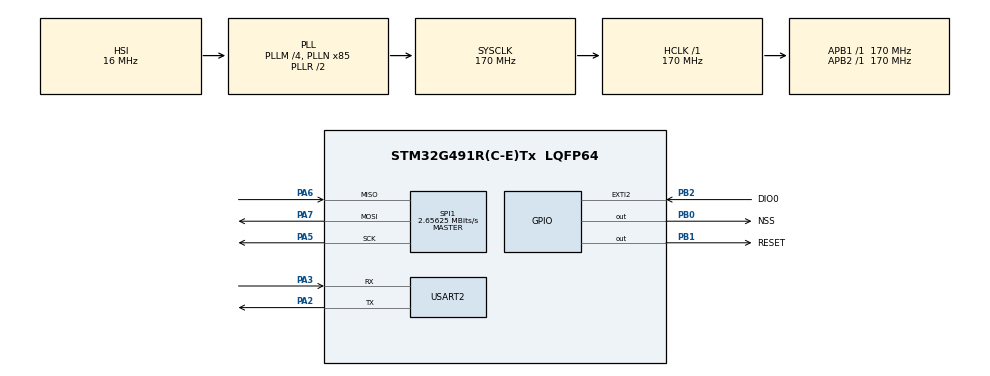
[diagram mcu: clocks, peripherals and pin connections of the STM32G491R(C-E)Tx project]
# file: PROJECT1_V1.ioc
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Mcu.Family=STM32G4
Mcu.Name=STM32G491R(C-E)Tx
Mcu.Package=LQFP64
NUCLEO-G491RE.LD2=false
NVIC.EXTI2_IRQn=true\:0\:0\:false\:false\:true\:true\:true\:true
NVIC.PriorityGroup=NVIC_PRIORITYGROUP_4
PA13.GPIO_Label=T_SWDIO
PA13.Mode=Serial_Wire
PA13.Signal=SYS_JTMS-SWDIO
PA14.GPIO_Label=T_SWCLK
PA14.Mode=Serial_Wire
PA14.Signal=SYS_JTCK-SWCLK
PA2.Mode=Asynchronous
PA2.Signal=USART2_TX
PA3.Mode=Asynchronous
PA3.Signal=USART2_RX
PA5.Mode=Full_Duplex_Master
PA5.Signal=SPI1_SCK
PA6.Mode=Full_Duplex_Master
PA6.Signal=SPI1_MISO
PA7.Mode=Full_Duplex_Master
PA7.Signal=SPI1_MOSI
PB0.GPIO_Label=NSS
PB0.PinState=GPIO_PIN_SET
PB0.Signal=GPIO_Output
PB1.GPIO_Label=RESET
PB1.PinState=GPIO_PIN_SET
PB1.Signal=GPIO_Output
PB2.GPIO_Label=DIO0
PB2.Signal=GPXTI2
PF0-OSC_IN.GPIO_Label=RCC_OSC_IN
PF0-OSC_IN.Mode=HSE-External-Oscillator
PF0-OSC_IN.Signal=RCC_OSC_IN
PF1-OSC_OUT.GPIO_Label=RCC_OSC_OUT
PF1-OSC_OUT.Mode=HSE-External-Oscillator
PF1-OSC_OUT.Signal=RCC_OSC_OUT
ProjectManager.HeapSize=0x200
ProjectManager.StackSize=0x400
ProjectManager.TargetToolchain=STM32CubeIDE
RCC.ADC12Freq_Value=170000000
RCC.ADC345Freq_Value=170000000
RCC.AHBFreq_Value=170000000
RCC.APB1Freq_Value=170000000
RCC.APB1TimFreq_Value=170000000
RCC.APB2Freq_Value=170000000
RCC.APB2TimFreq_Value=170000000
RCC.CortexFreq_Value=170000000
RCC.EXTERNAL_CLOCK_VALUE=12288000
RCC.HCLKFreq_Value=170000000
RCC.HSE_VALUE=24000000
RCC.HSI48_VALUE=48000000
RCC.HSI_VALUE=16000000
RCC.LSE_VALUE=32768
RCC.PLLM=RCC_PLLM_DIV4
RCC.PLLN=85
RCC.RTCClockSelection=RCC_RTCCLKSOURCE_LSE
RCC.SYSCLKFreq_VALUE=170000000
RCC.SYSCLKSource=RCC_SYSCLKSOURCE_PLLCLK
RCC.USBFreq_Value=48000000
RCC.VCOOutputFreq_Value=340000000
SPI1.BaudRatePrescaler=SPI_BAUDRATEPRESCALER_64
SPI1.CalculateBaudRate=2.65625 MBits/s
SPI1.DataSize=SPI_DATASIZE_8BIT
SPI1.Direction=SPI_DIRECTION_2LINES
SPI1.Mode=SPI_MODE_MASTER
SPI1.VirtualType=VM_MASTER
USART2.OverrunDisableParam=ADVFEATURE_OVERRUN_DISABLE
USART2.VirtualMode-Asynchronous=VM_ASYNC
VP_NUCLEO-G491RE_VS_BSP_COMMON.Mode=COMMON
VP_SYS_VS_DBSignals.Mode=DisableDeadBatterySignals
board=NUCLEO-G491RE

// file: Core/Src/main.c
/* USER CODE BEGIN Header */
/**
  ******************************************************************************
  * @file           : main.c
  * @brief          : Main program body
  ******************************************************************************
  * @attention
  *
  * Copyright (c) 2026 STMicroelectronics.
  * All rights reserved.
  *
  * This software is licensed under terms that can be found in the LICENSE file
  * in the root directory of this software component.
  * If no LICENSE file comes with this software, it is provided AS-IS.
  *
  ******************************************************************************
  */
/* USER CODE END Header */
#include "main.h"
#include "spi.h"
#include "usart.h"
#include "gpio.h"

/* USER CODE BEGIN Includes */
#include "LoRa.h"
#include "stdio.h"
#include "string.h"
#include <stdbool.h>
/* USER CODE END Includes */

void SystemClock_Config(void);

/* USER CODE BEGIN 0 */
int __io_putchar(int ch)
{
    HAL_UART_Transmit(&huart2, (uint8_t*)&ch, 1, HAL_MAX_DELAY);
    return 1;
}
/* USER CODE END 0 */

int main(void)
{

  /* MCU Configuration--------------------------------------------------------*/

  /* Reset of all peripherals, Initializes the Flash interface and the Systick. */
  HAL_Init();

  /* Configure the system clock */
  SystemClock_Config();

  /* Initialize all configured peripherals */
  MX_GPIO_Init();
  MX_USART2_UART_Init();
  MX_SPI1_Init();
  /* USER CODE BEGIN 2 */
	#define LINE_MAX_LENGTH 80

	bool uart_read_line(char **out)
	{
		static char buffer[LINE_MAX_LENGTH + 1];
		static uint32_t len = 0;
		uint8_t ch;

		if (HAL_UART_Receive(&huart2, &ch, 1, 0) != HAL_OK)
			return false;

		if (ch == '\r' || ch == '\n')
		{
			if (len == 0)
				return false;

			buffer[len] = '\0';
			*out = buffer;
			len = 0;
			return true;
		}

		if (len < LINE_MAX_LENGTH)
		{
			buffer[len++] = ch;
		}
		else
		{
			len = 0;
		}

		return false;
	}

	LoRa myLoRa;

	myLoRa.hSPIx = &hspi1;

	myLoRa.CS_port    = NSS_GPIO_Port;
	myLoRa.CS_pin     = NSS_Pin;
	myLoRa.reset_port = RESET_GPIO_Port;
	myLoRa.reset_pin  = RESET_Pin;
	myLoRa.DIO0_port  = DIO0_GPIO_Port;
	myLoRa.DIO0_pin   = DIO0_Pin;

	myLoRa.frequency       = 433;
	myLoRa.spredingFactor  = SF_9;
	myLoRa.bandWidth       = BW_125KHz;
	myLoRa.crcRate         = CR_4_5;
	myLoRa.power           = POWER_14db;
	myLoRa.preamble		 = 8;

	uint16_t LoRa_status = LoRa_init(&myLoRa);
	printf("LoRa status: %u\r\n", LoRa_status);
	uint8_t version = LoRa_read(&myLoRa, 0x42);
	printf("LoRa version: 0x%02X\r\n", version);

	LoRa_setSyncWord(&myLoRa, 0x2A);

	char *line;
  /* USER CODE END 2 */

  /* Infinite loop */
  /* USER CODE BEGIN WHILE */
  while (1)
  {
	  if (uart_read_line(&line))
	  {
		  uint16_t status = LoRa_transmit(&myLoRa, (uint8_t*)line, strlen(line), 500);
		  printf("Wysłano: %s | status=%u\r\n", line, status);
	  }
	  //uint16_t status = LoRa_transmit(&myLoRa, msg, sizeof(msg), 500);
	  //printf("Message status %u\r\n", status);
    /* USER CODE END WHILE */

  }
}

void SystemClock_Config(void)
{
  RCC_OscInitTypeDef RCC_OscInitStruct = {0};
  RCC_ClkInitTypeDef RCC_ClkInitStruct = {0};

  /** Configure the main internal regulator output voltage
  */
  HAL_PWREx_ControlVoltageScaling(PWR_REGULATOR_VOLTAGE_SCALE1_BOOST);

  /** Initializes the RCC Oscillators according to the specified parameters
  * in the RCC_OscInitTypeDef structure.
  */
  RCC_OscInitStruct.OscillatorType = RCC_OSCILLATORTYPE_HSI;
  RCC_OscInitStruct.HSIState = RCC_HSI_ON;
  RCC_OscInitStruct.HSICalibrationValue = RCC_HSICALIBRATION_DEFAULT;
  RCC_OscInitStruct.PLL.PLLState = RCC_PLL_ON;
  RCC_OscInitStruct.PLL.PLLSource = RCC_PLLSOURCE_HSI;
  RCC_OscInitStruct.PLL.PLLM = RCC_PLLM_DIV4;
  RCC_OscInitStruct.PLL.PLLN = 85;
  RCC_OscInitStruct.PLL.PLLP = RCC_PLLP_DIV2;
  RCC_OscInitStruct.PLL.PLLQ = RCC_PLLQ_DIV2;
  RCC_OscInitStruct.PLL.PLLR = RCC_PLLR_DIV2;
  if (HAL_RCC_OscConfig(&RCC_OscInitStruct) != HAL_OK)
  {
    Error_Handler();
  }

  /** Initializes the CPU, AHB and APB buses clocks
  */
  RCC_ClkInitStruct.ClockType = RCC_CLOCKTYPE_HCLK|RCC_CLOCKTYPE_SYSCLK
                              |RCC_CLOCKTYPE_PCLK1|RCC_CLOCKTYPE_PCLK2;
  RCC_ClkInitStruct.SYSCLKSource = RCC_SYSCLKSOURCE_PLLCLK;
  RCC_ClkInitStruct.AHBCLKDivider = RCC_SYSCLK_DIV1;
  RCC_ClkInitStruct.APB1CLKDivider = RCC_HCLK_DIV1;
  RCC_ClkInitStruct.APB2CLKDivider = RCC_HCLK_DIV1;

  if (HAL_RCC_ClockConfig(&RCC_ClkInitStruct, FLASH_LATENCY_4) != HAL_OK)
  {
    Error_Handler();
  }
}

void Error_Handler(void)
{
  __disable_irq();
  while (1)
  {
  }
}
